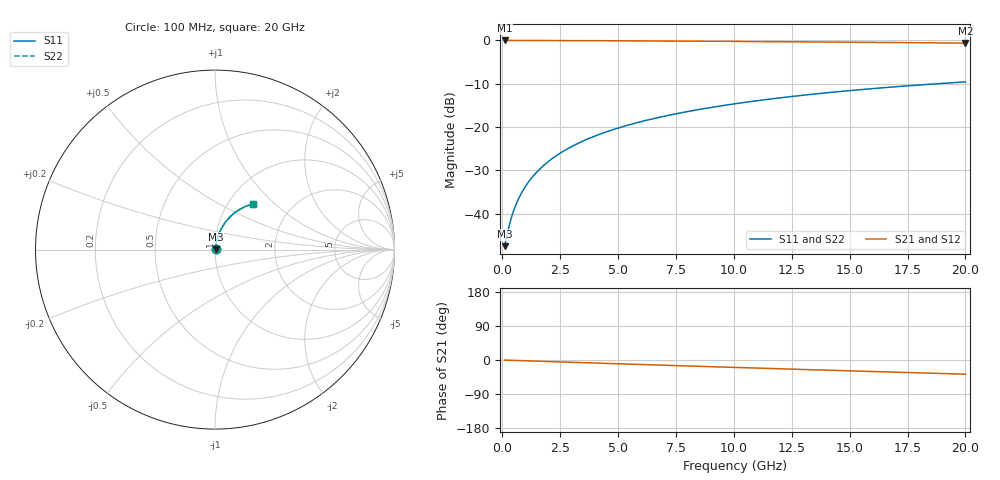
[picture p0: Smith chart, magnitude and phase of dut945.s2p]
! Touchstone file exported from HFSS 2026.1.0
!  File:  C:/ffzhzh/LocalFiles/Ansys_Project_Files/temp_train_BSMRDL_945_1783172142_18472.aedt
!  Generated:  09:36:56 PM Jul  4, 2026
!  Design:  BSMRDL
!  Project:  temp_train_BSMRDL_945_1783172142_18472
! Variables:
!  h_bsmrdl = 5.4um
!  h_ox = 20um
!  h_rdl = 5um
!  h_sub = 80um
!  h_tmrdl = 5um
!  h_tsv = 80um
!  h_via = 3um
!  l_bsmrdl = 581.1um
!  l_sub = 981.1um
!  l_tmrdl = 200um
!  m_sub = 200um
!  pitch = 27.84um
!  r_tsv = 6um
!  s_tmrdl = 10um
!  w_bsmrdl = 10.55um
!  w_sub = 500um
!  w_tmrdl = 12um
!  x_tsv_center1 = 206um
!  x_tsv_center2 = 797.65um
!  x_tsv_center3 = 1009.65um
!  x_tsv_center4 = 1601.3um
!  x_tsv_center5 = 1813.3um
!  x_tsv_center6 = 2404.95um
# GHz S MA R 50.000000
! Terminal data exported
! Port[1] = BSM_RDL1_1_T1
! Port[2] = BSM_RDL1_1_T2
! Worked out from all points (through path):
!   200 points, 100 MHz to 20 GHz, reference 50 ohm
!   highest |S21| = -0.03 dB at 100 MHz (marker M1); lowest = -0.6 dB at 20 GHz (marker M2)
!   group delay of S21, straight-line fit = 5.19 ps
!   lowest |S11| = -47.5 dB at 100 MHz (marker M3), VSWR 1.01, Z = 50.4 + j0.215 ohm
!   |S11| at or under -10 dB: start of sweep to 18.81 GHz
!   |S22| runs from -47.5 to -9.6 dB; largest |S21 - S12| = 2.2e-15
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0.1  0.004232 30.2  0.9963 -0.2  0.9963 -0.2  0.004232 30.2
! Gamma 0 0 0 0
! Port Impedance 50 0 50 0
0.2  0.005654 48.2  0.9963 -0.4  0.9963 -0.4  0.005654 48.2
0.3  0.007368 58.0  0.9961 -0.6  0.9961 -0.6  0.007368 58.0
0.4  0.009186 63.9  0.996 -0.8  0.996 -0.8  0.009186 63.9
0.5  0.01105 67.7  0.9959 -1.0  0.9959 -1.0  0.01105 67.7
0.6  0.01295 70.5  0.9959 -1.2  0.9959 -1.2  0.01295 70.5
0.8  0.01679 74.0  0.9957 -1.6  0.9957 -1.6  0.01679 74.0
1  0.02068 76.0  0.9955 -2.0  0.9955 -2.0  0.02068 76.0
1.2  0.0246 77.3  0.9953 -2.5  0.9953 -2.5  0.0246 77.3
1.4  0.02852 78.1  0.9951 -2.9  0.9951 -2.9  0.02852 78.1
1.7  0.03441 78.7  0.9947 -3.5  0.9947 -3.5  0.03441 78.7
2.2  0.04419 79.0  0.994 -4.5  0.994 -4.5  0.04419 79.0
2.8  0.05584 78.7  0.9929 -5.7  0.9929 -5.7  0.05584 78.7
3.5  0.06925 77.9  0.9915 -7.1  0.9915 -7.1  0.06925 77.9
4.2  0.08247 76.8  0.9898 -8.4  0.9898 -8.4  0.08247 76.8
5  0.09732 75.6  0.9878 -10.0  0.9878 -10.0  0.09732 75.6
6.8  0.1298 72.5  0.9825 -13.5  0.9825 -13.5  0.1298 72.5
8.3  0.156 69.9  0.9776 -16.3  0.9776 -16.3  0.156 69.9
10.1  0.1864 66.8  0.9712 -19.7  0.9712 -19.7  0.1864 66.8
13.4  0.2391 61.2  0.9582 -25.8  0.9582 -25.8  0.2391 61.1
16.7  0.2876 55.6  0.9439 -31.7  0.9439 -31.7  0.2876 55.5
20  0.3316 50.1  0.9288 -37.4  0.9288 -37.4  0.3316 50.1
